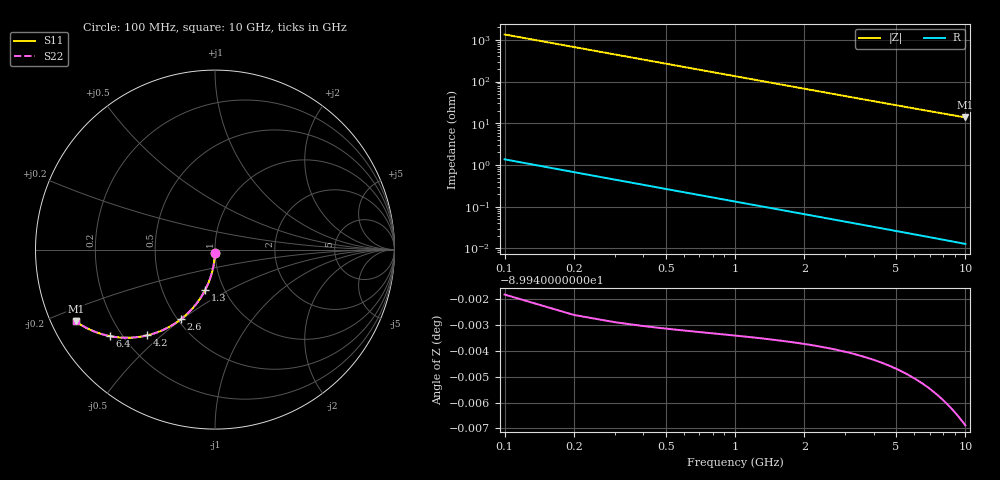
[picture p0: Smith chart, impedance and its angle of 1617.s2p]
# Hz S RI R 50.00
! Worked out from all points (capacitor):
!   100 points, 100 MHz to 10 GHz, reference 50 ohm
!   read as one part in shunt: C = 1.18 pF near 100 MHz
!   lowest |Z| = 13.8 ohm at 10 GHz (marker M1)
!   S11 on the Smith chart (normalised r, x): 100 MHz: 1.00, -0.04; 1.3 GHz: 0.81, -0.39; 2.6 GHz: 0.52, -0.50; 4.2 GHz: 0.30, -0.45; 6.4 GHz: 0.15, -0.35; 10 GHz: 0.07, -0.24
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1e8  -0.000333 -0.0184  0.9996 -0.0187  0.9996 -0.0187  -0.000333 -0.0184
2e8  -0.00139 -0.0368  0.9986 -0.0374  0.9986 -0.0374  -0.00139 -0.0368
3e8  -0.00312 -0.0551  0.9968 -0.0561  0.9968 -0.0561  -0.00312 -0.0551
4e8  -0.00554 -0.0733  0.9944 -0.0746  0.9944 -0.0746  -0.00554 -0.0733
5e8  -0.00862 -0.0914  0.9913 -0.0929  0.9913 -0.0929  -0.00862 -0.0914
6e8  -0.0124 -0.1092  0.9876 -0.1111  0.9876 -0.1111  -0.0124 -0.1092
7e8  -0.0167 -0.1268  0.9832 -0.129  0.9832 -0.129  -0.0167 -0.1268
8e8  -0.0217 -0.1442  0.9782 -0.1467  0.9782 -0.1467  -0.0217 -0.1442
1e9  -0.0335 -0.178  0.9664 -0.1812  0.9664 -0.1812  -0.0335 -0.178
1.3e9  -0.0553 -0.2262  0.9446 -0.2302  0.9446 -0.2302  -0.0553 -0.2262
1.5e9  -0.0723 -0.2562  0.9276 -0.2609  0.9276 -0.2609  -0.0723 -0.2562
1.8e9  -0.1008 -0.2979  0.8991 -0.3035  0.8991 -0.3035  -0.1008 -0.2979
2.2e9  -0.1434 -0.3466  0.8565 -0.3535  0.8565 -0.3535  -0.1434 -0.3466
2.6e9  -0.1894 -0.3873  0.8105 -0.3955  0.8105 -0.3955  -0.1894 -0.3873
3.4e9  -0.2853 -0.4458  0.7145 -0.4565  0.7145 -0.4565  -0.2853 -0.4458
4.2e9  -0.3785 -0.4779  0.6214 -0.4912  0.6214 -0.4912  -0.3785 -0.4779
5.1e9  -0.4731 -0.4907  0.5267 -0.5069  0.5267 -0.5069  -0.4731 -0.4907
6.4e9  -0.5858 -0.4818  0.4139 -0.5023  0.4139 -0.5023  -0.5858 -0.4818
6.7e9  -0.6079 -0.477  0.3918 -0.4984  0.3918 -0.4984  -0.6079 -0.477
7.5e9  -0.6603 -0.461  0.3394 -0.4851  0.3394 -0.4851  -0.6603 -0.461
8.4e9  -0.7093 -0.4399  0.2902 -0.467  0.2902 -0.467  -0.7093 -0.4399
1e10  -0.7762 -0.3998  0.2232 -0.4324  0.2232 -0.4324  -0.7762 -0.3998
